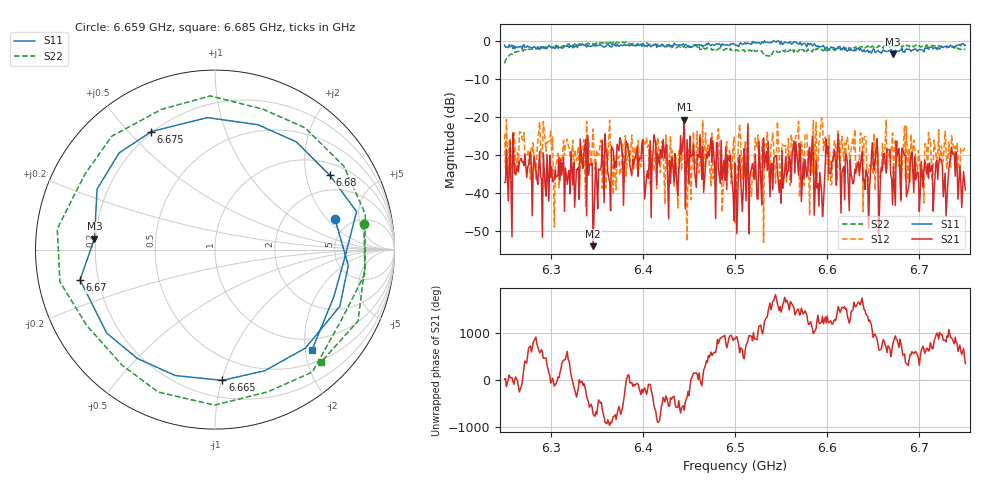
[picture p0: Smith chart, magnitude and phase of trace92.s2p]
# Hz S RI R 50
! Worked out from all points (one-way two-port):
!   401 points, 6.25 GHz to 6.75 GHz, reference 50 ohm
!   highest |S21| = -20.69 dB at 6.445 GHz (marker M1); lowest = -54.0 dB at 6.346 GHz (marker M2)
!   lowest |S11| = -3.4 dB at 6.671 GHz (marker M3), VSWR 5.14, Z = 9.74 + j2.19 ohm
!   |S11| at or under -10 dB: nowhere
!   |S22| runs from -5.9 to 0.1 dB; largest |S21 - S12| = 0.14
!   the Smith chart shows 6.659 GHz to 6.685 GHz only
!   S11 on the Smith chart (normalised r, x): 6.659 GHz: 3.80, +2.45; 6.665 GHz: 0.32, -1.00; 6.67 GHz: 0.13, -0.11; 6.675 GHz: 0.19, +0.58; 6.68 GHz: 1.39, +2.74; 6.685 GHz: 0.76, -2.14
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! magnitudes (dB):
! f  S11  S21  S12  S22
! 6.25 GHz  -1.1  -37.2  -24.4  -5.9
! 6.334 GHz  -1.0  -32.1  -32.1  -0.9
! 6.346 GHz  -1.0  -54.0  -23.1  -0.7
! 6.418 GHz  -1.4  -32.5  -29.9  -0.9
! 6.445 GHz  -1.2  -20.7  -26.2  -1.5
! 6.492 GHz  -1.0  -30.2  -34.8  -2.2
! 6.5 GHz  -0.9  -32.2  -47.8  -2.5
! 6.506 GHz  -0.5  -35.6  -25.4  -2.4
! 6.518 GHz  -0.8  -33.4  -40.8  -2.6
! 6.566 GHz  -0.3  -26.5  -24.9  -2.6
! 6.584 GHz  -1.3  -25.0  -34.7  -2.9
! 6.595 GHz  -1.4  -46.2  -21.1  -2.5
! 6.6 GHz  -1.7  -29.4  -31.3  -2.6
! 6.659 GHz  -3.2  -32.9  -34.4  -1.5
! 6.665 GHz  -2.7  -28.4  -33.5  -1.2
! 6.668 GHz  -2.6  -28.7  -28.5  -1.7
! 6.67 GHz  -2.3  -36.4  -27.5  -1.1
! 6.671 GHz  -3.4  -43.1  -24.2  -1.0
! 6.675 GHz  -2.5  -26.4  -32.9  -1.6
! 6.68 GHz  -2.4  -41.6  -42.1  -1.4
! 6.685 GHz  -2.2  -30.3  -36.4  -1.3
! 6.75 GHz  -1.1  -39.2  -28.4  -2.3
